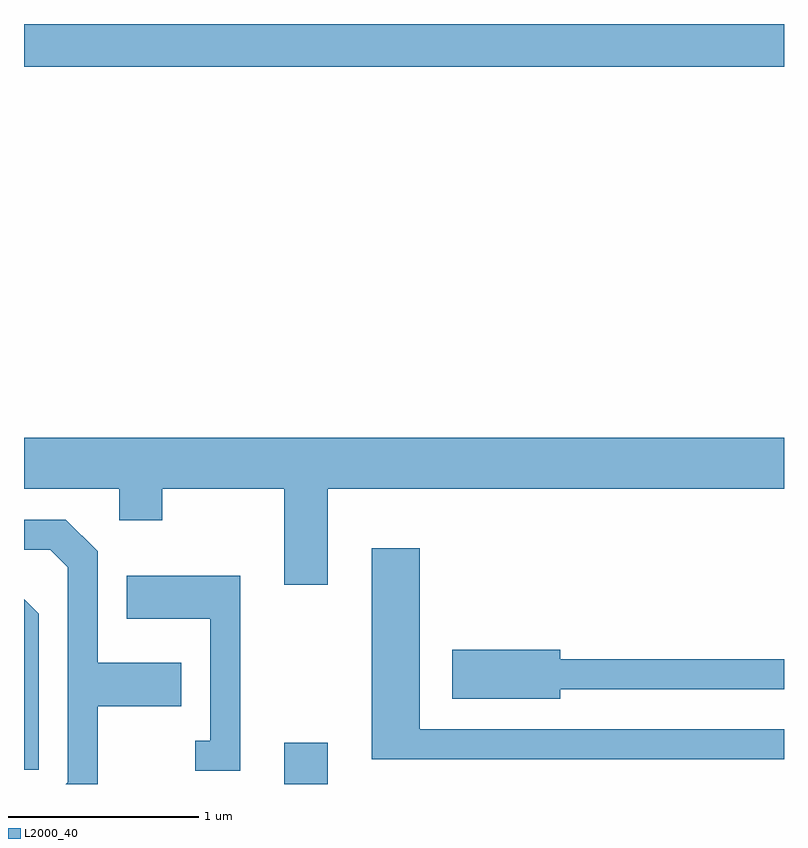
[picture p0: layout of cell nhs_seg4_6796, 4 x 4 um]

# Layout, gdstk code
import gdstk
lib = gdstk.Library(unit=1e-6, precision=1e-09)
def R(c, l, rs):  # rectangles x0, y0, x1, y1
    for r in rs: c.add(gdstk.rectangle(r[:2], r[2:], *l))
def P(c, l, *ps):  # polygons
    for p in ps: c.add(gdstk.Polygon(p, *l))
L2000_40 = (2000, 40)

nhs_seg4_6796 = lib.new_cell('nhs_seg4_6796')
R(nhs_seg4_6796, L2000_40, [(384.981,1381.982,385.209,1382.199), (383.611,1385.756,387.611,1385.982)])
P(nhs_seg4_6796, L2000_40, [(385.209,1383.536),(387.611,1383.536),(387.611,1383.804),(383.611,1383.804),(383.611,1383.536),(384.111,1383.536),(384.111,1383.371),(384.339,1383.371),(384.339,1383.536),(384.981,1383.536),(384.981,1383.031),(385.209,1383.031)],
  [(383.999,1382.391),(384.439,1382.391),(384.439,1382.619),(383.999,1382.619),(383.999,1383.207),(383.832,1383.374),(383.611,1383.374),(383.611,1383.216),(383.749,1383.216),(383.841,1383.124),(383.841,1381.992),(383.831,1381.982),(383.999,1381.982)],
  [(387.611,1382.269),(385.694,1382.269),(385.694,1383.224),(385.441,1383.224),(385.441,1382.111),(387.611,1382.111)],
  [(384.749,1383.079),(384.151,1383.079),(384.151,1382.851),(384.591,1382.851),(384.591,1382.209),(384.513,1382.209),(384.513,1382.051),(384.749,1382.051)],
  [(383.689,1382.877),(383.611,1382.955),(383.611,1382.056),(383.689,1382.056)],
  [(386.434,1382.481),(387.611,1382.481),(387.611,1382.639),(386.434,1382.639),(386.434,1382.689),(385.866,1382.689),(385.866,1382.431),(386.434,1382.431)])

lib.write_gds('nhs_seg4_6796.gds')
